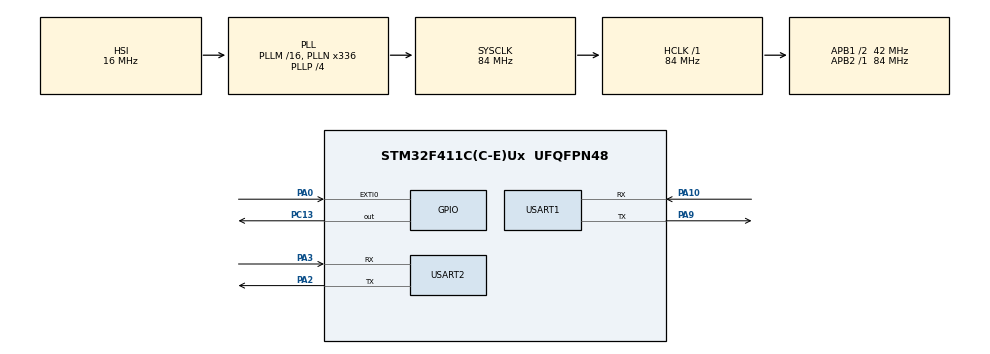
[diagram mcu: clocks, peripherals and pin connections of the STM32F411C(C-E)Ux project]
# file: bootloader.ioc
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Mcu.Family=STM32F4
Mcu.Name=STM32F411C(C-E)Ux
Mcu.Package=UFQFPN48
NVIC.EXTI0_IRQn=true\:0\:0\:false\:false\:true\:true\:true\:true
NVIC.PriorityGroup=NVIC_PRIORITYGROUP_4
PA0-WKUP.Signal=GPXTI0
PA10.Mode=Asynchronous
PA10.Signal=USART1_RX
PA2.Mode=Asynchronous
PA2.Signal=USART2_TX
PA3.Mode=Asynchronous
PA3.Signal=USART2_RX
PA9.Mode=Asynchronous
PA9.Signal=USART1_TX
PC13-ANTI_TAMP.Signal=GPIO_Output
ProjectManager.HeapSize=0x200
ProjectManager.StackSize=0x400
ProjectManager.TargetToolchain=STM32CubeIDE
RCC.48MHZClocksFreq_Value=84000000
RCC.AHBFreq_Value=84000000
RCC.APB1CLKDivider=RCC_HCLK_DIV2
RCC.APB1Freq_Value=42000000
RCC.APB1TimFreq_Value=84000000
RCC.APB2Freq_Value=84000000
RCC.APB2TimFreq_Value=84000000
RCC.CortexFreq_Value=84000000
RCC.HCLKFreq_Value=84000000
RCC.HSE_VALUE=25000000
RCC.HSI_VALUE=16000000
RCC.LSE_VALUE=32768
RCC.PLLN=336
RCC.PLLP=RCC_PLLP_DIV4
RCC.SYSCLKFreq_VALUE=84000000
RCC.SYSCLKSource=RCC_SYSCLKSOURCE_PLLCLK
RCC.VCOOutputFreq_Value=336000000
USART1.VirtualMode=VM_ASYNC
USART2.VirtualMode=VM_ASYNC
VP_CRC_VS_CRC.Mode=CRC_Activate
board=custom

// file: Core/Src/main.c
/* USER CODE BEGIN Header */
/**
  ******************************************************************************
  * @file           : main.c
  * @brief          : Main program body
  ******************************************************************************
  * @attention
  *
  * Copyright (c) 2025 STMicroelectronics.
  * All rights reserved.
  *
  * This software is licensed under terms that can be found in the LICENSE file
  * in the root directory of this software component.
  * If no LICENSE file comes with this software, it is provided AS-IS.
  *
  ******************************************************************************
  */
/* USER CODE END Header */

/* USER CODE BEGIN Includes */
#include <stdint.h>
#include <stdarg.h>
#include <string.h>
#include <stdio.h>

#include "main.h"
#include "stm32f4xx_hal.h"
/* USER CODE END Includes */

CRC_HandleTypeDef hcrc;

UART_HandleTypeDef huart1;
UART_HandleTypeDef huart2;

void SystemClock_Config(void);
static void MX_GPIO_Init(void);
static void MX_CRC_Init(void);
static void MX_USART1_UART_Init(void);
static void MX_USART2_UART_Init(void);
/* USER CODE BEGIN PFP */
#define BL_DEBUG_MSG_EN
//prints formatted srings to console over UART
void printm(char* format,...)
{
#ifdef BL_DEBUG_MSG_EN
	char str[80];
//extract the argumnet list using VA apis
	va_list args;
	va_start(args, format);
	vsprintf(str, format,args);
	HAL_UART_Transmit(&huart2, (uint8_t*)str, strlen(str), HAL_MAX_DELAY);
	va_end(args);
#endif
}
/* USER CODE END PFP */

/* USER CODE BEGIN 0 */
char data[] = "Hello from bootloader..!!!\r\n";
#define bl_rcv_len  200
uint8_t bl_rcv_buffer[bl_rcv_len];

uint8_t supported_cmd[] = {
		BL_VERSION,
		BL_HELP,
		BL_CID,
		BL_RDP_STATUS,
		BL_GO_TO_ADDR,
		BL_FLASH_ERASE,
		BL_MEM_WR,
		BL_READ_SECTOR_STATUS,
		BL_EN_RW_PROTECT,
		BL_DI_RW_PROTECT,
		BL_READ_OTP};
/* USER CODE END 0 */

int main(void)
{

  /* MCU Configuration--------------------------------------------------------*/

  /* Reset of all peripherals, Initializes the Flash interface and the Systick. */
  HAL_Init();

  /* Configure the system clock */
  SystemClock_Config();

  /* Initialize all configured peripherals */
  MX_GPIO_Init();
  MX_CRC_Init();
  MX_USART1_UART_Init();
  MX_USART2_UART_Init();

  /* Infinite loop */
  while (1)
  {
	  if(HAL_GPIO_ReadPin(GPIOA, GPIO_PIN_0) == GPIO_PIN_RESET)
	  {
		  printm("BL_Debug msg : Button is pressed..going to BL mode\r\n");
		  bootloader_uart_read_data();
	  }
	  else
	  {
		  printm("BL_Debug msg : Button is not pressed..executing user application\r\n");
		  bootloader_jump_to_userapp();
	  }
  }
}

//Code to jump to user application which is stored in FLASH_SEC2_BASE_ADDR//
void bootloader_jump_to_userapp(void)
{
	//function pointer to hold the address of the reset handler of the user app.//
	void (*app_reset_handler)(void);
	printm("BL_Debug msg : bootloader_jump_to_userappur\n");

	//(I)configure the MSP by reading the value from the base address of sector 2
	uint32_t msp_val = *(volatile uint32_t*)FLASH_SEC2_BASE_ADDR;
	printm("BL_Debug msg : %x\n", msp_val);

	__set_MSP(msp_val); //CMSIS function

	//(II) fetch the address of reset handler of the user application//
	uint32_t resethandler_addr = *(volatile uint32_t*)(FLASH_SEC2_BASE_ADDR + 4);
	app_reset_handler = (void*)resethandler_addr;
	printm("BL_Debug msg : Application reset handler address = %#x\n", app_reset_handler);

	//(III) Jump to reset handler of the user application
	app_reset_handler();
}

void bootloader_uart_read_data(void)
{
	uint8_t rx_len = 0;
	while(1)
	{
		memset(bl_rcv_buffer, 0, 200);
		HAL_UART_Receive(&huart2, bl_rcv_buffer, 1, HAL_MAX_DELAY);
		HAL_UART_Receive(&huart2, &bl_rcv_buffer[1], bl_rcv_buffer[0], HAL_MAX_DELAY);
		printm("Length byte: %d\r\n", bl_rcv_buffer[0]);
		printm("Command byte: 0x%x\r\n", bl_rcv_buffer[1]);

		switch(bl_rcv_buffer[1])
		{
			case BL_VERSION:
				bl_handler_getver_cmd(bl_rcv_buffer);
				break;

			case BL_HELP:
				bl_handle_gethelp_cmd(bl_rcv_buffer);
				break;

			case BL_CID:
				bl_handle_getcid_cmd(bl_rcv_buffer);
				break;

			case BL_RDP_STATUS:
				bl_handle_getrdp_cmd(bl_rcv_buffer);
				break;

			case BL_GO_TO_ADDR:
				bl_handle_jumptoaddr_cmd(bl_rcv_buffer);
				break;

			case BL_FLASH_ERASE:
				bl_handle_flash_erase_cmd(bl_rcv_buffer);
				break;

			case BL_MEM_WR:
				bl_handle_mem_wr_cmd(bl_rcv_buffer);
				break;

			case BL_READ_SECTOR_STATUS:
				bl_handle_read_sector_status(bl_rcv_buffer);
				break;

			case BL_EN_RW_PROTECT:
				bl_handle_en_rw_protect_cmd(bl_rcv_buffer);
				break;

			case BL_DI_RW_PROTECT:
				bl_handle_dis_rw_protect_cmd(bl_rcv_buffer);
				break;

			case BL_READ_OTP:
				bl_handle_read_OTP_cmd(bl_rcv_buffer);
				break;

			default:
				printm("Invalid command code from the host\n");
				break;
		}
	}

}
void SystemClock_Config(void)
{
  RCC_OscInitTypeDef RCC_OscInitStruct = {0};
  RCC_ClkInitTypeDef RCC_ClkInitStruct = {0};

  /** Configure the main internal regulator output voltage
  */
  __HAL_RCC_PWR_CLK_ENABLE();
  __HAL_PWR_VOLTAGESCALING_CONFIG(PWR_REGULATOR_VOLTAGE_SCALE1);

  /** Initializes the RCC Oscillators according to the specified parameters
  * in the RCC_OscInitTypeDef structure.
  */
  RCC_OscInitStruct.OscillatorType = RCC_OSCILLATORTYPE_HSI;
  RCC_OscInitStruct.HSIState = RCC_HSI_ON;
  RCC_OscInitStruct.HSICalibrationValue = RCC_HSICALIBRATION_DEFAULT;
  RCC_OscInitStruct.PLL.PLLState = RCC_PLL_ON;
  RCC_OscInitStruct.PLL.PLLSource = RCC_PLLSOURCE_HSI;
  RCC_OscInitStruct.PLL.PLLM = 16;
  RCC_OscInitStruct.PLL.PLLN = 336;
  RCC_OscInitStruct.PLL.PLLP = RCC_PLLP_DIV4;
  RCC_OscInitStruct.PLL.PLLQ = 4;
  if (HAL_RCC_OscConfig(&RCC_OscInitStruct) != HAL_OK)
  {
    Error_Handler();
  }

  /** Initializes the CPU, AHB and APB buses clocks
  */
  RCC_ClkInitStruct.ClockType = RCC_CLOCKTYPE_HCLK|RCC_CLOCKTYPE_SYSCLK
                              |RCC_CLOCKTYPE_PCLK1|RCC_CLOCKTYPE_PCLK2;
  RCC_ClkInitStruct.SYSCLKSource = RCC_SYSCLKSOURCE_PLLCLK;
  RCC_ClkInitStruct.AHBCLKDivider = RCC_SYSCLK_DIV1;
  RCC_ClkInitStruct.APB1CLKDivider = RCC_HCLK_DIV2;
  RCC_ClkInitStruct.APB2CLKDivider = RCC_HCLK_DIV1;

  if (HAL_RCC_ClockConfig(&RCC_ClkInitStruct, FLASH_LATENCY_2) != HAL_OK)
  {
    Error_Handler();
  }
}

static void MX_CRC_Init(void)
{

  hcrc.Instance = CRC;
  if (HAL_CRC_Init(&hcrc) != HAL_OK)
  {
    Error_Handler();
  }

}

static void MX_USART1_UART_Init(void)
{

  huart1.Instance = USART1;
  huart1.Init.BaudRate = 115200;
  huart1.Init.WordLength = UART_WORDLENGTH_8B;
  huart1.Init.StopBits = UART_STOPBITS_1;
  huart1.Init.Parity = UART_PARITY_NONE;
  huart1.Init.Mode = UART_MODE_TX_RX;
  huart1.Init.HwFlowCtl = UART_HWCONTROL_NONE;
  huart1.Init.OverSampling = UART_OVERSAMPLING_16;
  if (HAL_UART_Init(&huart1) != HAL_OK)
  {
    Error_Handler();
  }

}

static void MX_USART2_UART_Init(void)
{

  huart2.Instance = USART2;
  huart2.Init.BaudRate = 115200;
  huart2.Init.WordLength = UART_WORDLENGTH_8B;
  huart2.Init.StopBits = UART_STOPBITS_1;
  huart2.Init.Parity = UART_PARITY_NONE;
  huart2.Init.Mode = UART_MODE_TX_RX;
  huart2.Init.HwFlowCtl = UART_HWCONTROL_NONE;
  huart2.Init.OverSampling = UART_OVERSAMPLING_16;
  if (HAL_UART_Init(&huart2) != HAL_OK)
  {
    Error_Handler();
  }

}

static void MX_GPIO_Init(void)
{
  GPIO_InitTypeDef GPIO_InitStruct = {0};

  /* GPIO Ports Clock Enable */
  __HAL_RCC_GPIOC_CLK_ENABLE();
  __HAL_RCC_GPIOA_CLK_ENABLE();

  /*Configure GPIO pin Output Level */
  HAL_GPIO_WritePin(GPIOC, GPIO_PIN_13, GPIO_PIN_RESET);

  /*Configure GPIO pin : PC13 */
  GPIO_InitStruct.Pin = GPIO_PIN_13;
  GPIO_InitStruct.Mode = GPIO_MODE_OUTPUT_PP;
  GPIO_InitStruct.Pull = GPIO_NOPULL;
  GPIO_InitStruct.Speed = GPIO_SPEED_FREQ_LOW;
  HAL_GPIO_Init(GPIOC, &GPIO_InitStruct);

  /*Configure GPIO pin : PA0 */
  GPIO_InitStruct.Pin = GPIO_PIN_0;
  GPIO_InitStruct.Mode = GPIO_MODE_IT_RISING;
  GPIO_InitStruct.Pull = GPIO_PULLUP;
  HAL_GPIO_Init(GPIOA, &GPIO_InitStruct);

  /* EXTI interrupt init*/
  HAL_NVIC_SetPriority(EXTI0_IRQn, 0, 0);
  HAL_NVIC_EnableIRQ(EXTI0_IRQn);

}

/* USER CODE BEGIN 4 */
//////Implementation of command handle functions//////

//1. To handle to get version command of the bootloader//
void bl_handler_getver_cmd(uint8_t *bl_rcv_buffer)
{
	uint8_t bl_ver;

	//1. check the CRC
	printm("Bootloader command : bl_handler_getver_cmd\n");
	//total length of cmad packet
	uint32_t cmd_packet_len = bl_rcv_buffer[0] + 1;

	//extract CRC32 sent by the host
	uint32_t crc_host = *( (uint32_t*)(bl_rcv_buffer + cmd_packet_len - 4) );

	if(! bootloader_verify_CRC(&bl_rcv_buffer[0], cmd_packet_len - 4, crc_host) )
	{
		printm("Checksum success!!\n");
		bootloader_send_ACK(bl_rcv_buffer[0], 1);
		bl_ver = get_bl_version();
		printm("BL_VER : %d %#x\n", bl_ver, bl_ver);
		bootloader_uart_write_data((uint8_t*)&bl_ver, 1);
	}
	else
	{
		printm("Checksum failed!!\n");
		bootloader_send_NACK();
	}

}

//2. Bootloader sends all the supported command codes//
void bl_handle_gethelp_cmd(uint8_t *pbuffer)
{
	printm("Bootloader command : bl_handle_gethelp_cmd\n");

	//total length of command packet
	uint32_t cmd_packet_len = bl_rcv_buffer[0] + 1;

	//extract CRC32 sent by the host
	uint32_t crc_host = *( (uint32_t*)(bl_rcv_buffer + cmd_packet_len - 4) );

	if(!bootloader_verify_CRC(&bl_rcv_buffer[0], cmd_packet_len-4, crc_host))
	{
		printm("Checksum success!!\n");
		bootloader_send_ACK(bl_rcv_buffer[0], sizeof(supported_cmd));
		bootloader_uart_write_data(supported_cmd, sizeof(supported_cmd));
	}
	else
	{
		printm("Checksum failed..!!\n");
		bootloader_send_NACK();
	}
}

//3. To get the chip identification no. of the MCU//
void bl_handle_getcid_cmd(uint8_t *pbuffer)
{
	uint16_t bl_cid_num = 0;
	printm("Bootloader command : bl_handle_getcid_cmd\n");

	//total length of command packet
	uint32_t cmd_packet_len = bl_rcv_buffer[0] + 1;

	//extract the CRC32 sent by the host//
	uint32_t crc_host = *( (uint32_t*)(&bl_rcv_buffer[0] + cmd_packet_len - 4) );

	if(!bootloader_verify_CRC(&bl_rcv_buffer[0], cmd_packet_len-4, crc_host))
	{
		printm("Checksum success!!\n");
		bootloader_send_ACK(pbuffer[0], 2);
		bl_cid_num = get_cid_num();
		printm("MCU ID : %d %#x\n", bl_cid_num, bl_cid_num);
		bootloader_uart_write_data((uint8_t*)&bl_cid_num, 2);
	}
	else
	{
		printm("Checksum failed..!!\n");
		bootloader_send_NACK();
	}
}

//4. To handle the RDP level and read it//
void bl_handle_getrdp_cmd(uint8_t *pbuffer)
{
	uint8_t rdp_level = 0x00;
	printm("Bootloader command : bl_handle_getrdp_cmd\n");

	//Total length of command packet
	uint32_t cmd_packet_len = bl_rcv_buffer[0] + 1;

	//extract the CRC32 sent by the host
	uint32_t crc_host = *( (uint32_t*)(&bl_rcv_buffer[0] + cmd_packet_len - 4) );

	if(!bootloader_verify_CRC(&bl_rcv_buffer[0], cmd_packet_len-4, crc_host))
	{
		printm("Checksum success!!\n");
		bootloader_send_ACK(pbuffer[0], 2);
		rdp_level = get_flash_RDP_level();
		printm("MCU ID : %d %#x\n", rdp_level, rdp_level);
		bootloader_uart_write_data(&rdp_level, 1);
	}
	else
	{
		printm("Checksum failed..!!\n");
		bootloader_send_NACK();
	}
}

//5. This function jumps to the given address//
void bl_handle_jumptoaddr_cmd(uint8_t* pbuffer)
{
	uint32_t addr        = 0;
	uint8_t valid_addr   = ADDR_VALID;
	uint8_t invalid_addr = ADDR_INVALID;

	printm("Bootloader command : bl_handle_jumptoaddr_cmd\n");

	//Total length of command packet
	uint32_t cmd_packet_len = bl_rcv_buffer[0] + 1;

	//extract the CRC32 sent by the host
	uint32_t crc_host = *( (uint32_t*)(&bl_rcv_buffer[0] + cmd_packet_len - 4) );

	if(!bootloader_verify_CRC(&bl_rcv_buffer[0], cmd_packet_len - 4, crc_host))
	{
		printm("Checksum success!!");
		bootloader_send_ACK(pbuffer[0], 1);

		//extract the address to jump
		addr = *((uint32_t*)&pbuffer[2]);
		printm("Jump to address : %#x\n", addr);

		if(verify_addr(addr) == ADDR_VALID)
		{
			bootloader_uart_write_data(&valid_addr, 1);

			addr += 1;  //making the T bit as 1, otherwise it will result in hardfault exception

			void (*jump_to_addr)(void) = (void*)addr;

			printm("Jumping to the given address...\n");
			jump_to_addr();
		}

		else
		{
			printm("Given address is invalid!\n");
			bootloader_uart_write_data(&invalid_addr, 1);
		}
	}

	else
	{
		printm("Checksum failed!!\n");
		bootloader_send_NACK();
	}
}

//6. This command is used to mass erase the flash sectors//
void bl_handle_flash_erase_cmd(uint8_t* pbuffer)
{
	uint8_t erase_status = 0x00;
	printm("Bootloader command : bl_handle_flash_erase_cmd\n");

	//Total length of command packet
	uint32_t cmd_packet_len = bl_rcv_buffer[0] + 1;

	//extract the CRC32 sent by the host
	uint32_t crc_host = *( (uint32_t*)(&bl_rcv_buffer[0] + cmd_packet_len - 4) );

	if(!bootloader_verify_CRC(&bl_rcv_buffer[0], cmd_packet_len - 4, crc_host))
	{
		printm("Checksum success!!");
		bootloader_send_ACK(pbuffer[0], 1);
		printm("Initial sector : %d Number of sectors : %d\n", pbuffer[2], pbuffer[3]);

		HAL_GPIO_WritePin(GPIOC, GPIO_PIN_13, 0);
		erase_status = execute_flash_erase(pbuffer[2], pbuffer[3]);
		HAL_GPIO_WritePin(GPIOC, GPIO_PIN_13, 1);

		printm("Flash erase status : %#x\n", erase_status);
		bootloader_uart_write_data(&erase_status, 1);
	}
	else
	{
		printm("Checksum failed!!\n");
		bootloader_send_NACK();
	}

}

//7. This command handles to write in the flash region of the mcu//
void bl_handle_mem_wr_cmd(uint8_t *pbuffer)
{
	uint8_t val_addr = ADDR_VALID, status_wr = 0x00, len = pbuffer[0], checksum = 0;
	uint8_t payload_len = pbuffer[6];
	uint32_t mem_addr = *( (uint32_t*) (&pbuffer[2]) );
	checksum = pbuffer[len];
	printm("Bootloader command : bl_handle_mem_wr_cmd\n");

	//total length
	uint32_t cmd_packet_len = bl_rcv_buffer[0] + 1;

	//extract the CRC32 sent by the host
	uint32_t crc_host = *( (uint32_t*)(&bl_rcv_buffer[0] + cmd_packet_len - 4) );

	if(!bootloader_verify_CRC(&bl_rcv_buffer[0], cmd_packet_len - 4, crc_host))
	{
		printm("Checksum success!!");
		bootloader_send_ACK(pbuffer[0], 1);
		printm("Memory write address : %#x\n", mem_addr);

		if(verify_addr(mem_addr) == ADDR_VALID)
		{
			printm("Write address is valid\n");
			HAL_GPIO_WritePin(GPIOC, GPIO_PIN_13, 0);
			status_wr = execute_mem_wr(&pbuffer[7], mem_addr, payload_len);
			HAL_GPIO_WritePin(GPIOC, GPIO_PIN_13, 1);

			bootloader_uart_write_data(&status_wr, 1);
		}
		else
		{
			printm("Write address is invalid\n");
			status_wr = ADDR_INVALID;
			bootloader_uart_write_data(&status_wr, 1);
		}
	}

	else
	{
		printm("Checksum failed!!\n");
		bootloader_send_NACK();
	}

}

//8. This command enables the read/write protection
void bl_handle_en_rw_protect_cmd(uint8_t *pbuffer)
{
	uint8_t status = 0x00;
	printm("Bootloader command : bl_handle_en_rw_protect_cmd\n");

	//total length
	uint32_t cmd_packet_len = bl_rcv_buffer[0] + 1;

	//extract the CRC32 sent by the host
	uint32_t crc_host = *( (uint32_t*)(&bl_rcv_buffer[0] + cmd_packet_len - 4) );

	if(!bootloader_verify_CRC(&bl_rcv_buffer[0], cmd_packet_len-4, crc_host))
	{
		printm("Checksum success..!!\n");
		bootloader_send_ACK(pbuffer[0], 1);

		status = config_flash_rw_protect(pbuffer[2], pbuffer[3], 0);

		printm("Flash erase status : %#x\n", status);
		bootloader_uart_write_data(&status, 1);
	}
	else
	{
		printm("Checksum failed!!\n");
		bootloader_send_NACK();
	}
}

//9. This command disables the read/write protection
void bl_handle_dis_rw_protect_cmd(uint8_t *pbuffer)
{
	uint8_t status = 0x00;
	printm("Bootloader command : bl_handle_dis_rw_protect_cmd\n");

	//Total length
	uint32_t cmd_packet_len = pbuffer[0] + 1;

	//Extract the CRC32 sent by the host
	uint32_t crc_host = *((uint32_t*) (bl_rcv_buffer + cmd_packet_len - 4));

	if(!bootloader_verify_CRC(&bl_rcv_buffer[0], cmd_packet_len-4, crc_host))
	{
		printm("Checksum success..!!\n");
		bootloader_send_ACK(pbuffer[0], 1);

		status = config_flash_rw_protect(0, 0, 1);

		printm("Flash erase status : %#x", status);
		bootloader_uart_write_data(&status, 1);
	}
	else
	{
		printm("Checksum failed!!\n");
		bootloader_send_NACK();
	}
}

//10. This command reads the status of all sectors
void bl_handle_read_sector_status(uint8_t *pbuffer)
{
	uint8_t status = 0x00;
	printm("Bootloader command : bl_handle_read_sector_status\n");

	//Total length
	uint32_t cmd_packet_len = bl_rcv_buffer[0] + 1;

	//Extract the CRC32 sent by the host
	uint32_t crc_host = *( (uint32_t*) (bl_rcv_buffer + cmd_packet_len - 4) );

	if(!bootloader_verify_CRC(&bl_rcv_buffer[0], cmd_packet_len-4, crc_host))
	{
		printm("Checksum success..!!\n");
		bootloader_send_ACK(pbuffer[0], 2);
		status = read_OB_rw_protect_status();
		printm("nWRP Status : %#x\n", status);
		bootloader_uart_write_data((uint8_t*)&status, 2);
	}
	else
	{
		printm("Checksum failed!!\n");
		bootloader_send_NACK();
	}
}

//11. This command handles to read the OTP data blocks
void bl_handle_read_OTP_cmd(uint8_t *pbuffer)
{
	uint8_t status = 0x00;
	printm("Bootloader command : bl_handle_read_OTP_cmd\n");

	//Total length
	uint32_t cmd_packet_len = pbuffer[0] + 1;

	//Extract the CRC32 sent by the host
	uint32_t crc_host = *( (uint32_t*) (bl_rcv_buffer + cmd_packet_len - 4) );

	if(!bootloader_verify_CRC(&bl_rcv_buffer[0], cmd_packet_len-4, crc_host))
	{
		printm("Checksum success..!!\n");
		bootloader_send_ACK(pbuffer[0], 1);
		status = read_otp_block(pbuffer[2]);
		printm("OTP block data: %d", status);
		bootloader_uart_write_data(&status, 1);
	}
	else
	{
		printm("Checksum failed!!\n");
		bootloader_send_NACK();
	}
}
//This function sends ACK if CRC matches with the length//
void bootloader_send_ACK(uint8_t cmd_code, uint8_t follow_len)
{
	//We send 2 bytes here : (I) ACK (II) length to follow
	uint8_t ack_buffer[2];
	ack_buffer[0] = BL_ACK;
	ack_buffer[1] = follow_len;
	HAL_UART_Transmit(&huart2, ack_buffer, 2, HAL_MAX_DELAY);
	printm("ACK Done\n");
}

//This function sends NACK if CRC doesn't match with the length//
void bootloader_send_NACK(void)
{
	uint8_t nack = BL_NACK;
	HAL_UART_Transmit(&huart2, &nack, 1, HAL_MAX_DELAY);
}

//This function writes data in UART2//
void bootloader_uart_write_data(uint8_t *pbuffer, uint32_t len)
{
	HAL_UART_Transmit(&huart2, pbuffer, len, HAL_MAX_DELAY);
}
//This function verify the CRC of the given buffer in pData
//pData : pointer to the data
//len : length for which CRC is to be calculated
//crc_host : 32 bit CRC value received by the host that is to be compared
uint8_t bootloader_verify_CRC(uint8_t *pData, uint32_t len, uint32_t crc_host)
{
	uint32_t crc_val = 0xff;

	for(uint32_t i = 0; i < len; i++)
	{
		uint32_t idata = pData[i];
		crc_val = HAL_CRC_Accumulate(&hcrc, &idata, 1);

	}

	//Reset CRC calculation unit
	__HAL_CRC_DR_RESET(&hcrc);
	if(crc_val == crc_host)
	{
		return CRC_SUCCESS;
	}
	else return CRC_FAILURE;

}

//This function returns the bl_version macro//
uint8_t get_bl_version(void)
{
	return BL_VERSION;
}

//This function reads the chip identifier number//
uint16_t get_cid_num(void)
{
	uint16_t id;
	id = (uint16_t)(DBGMCU->IDCODE) & 0x0FFF;
	return id;
}

//This function gets the RDP level from the flash memory//
uint8_t get_flash_RDP_level(void)
{
	uint8_t rdp_status = 0;

#if 0
	FLASH_OBProgramInitTypeDef ob_handle;
	HAL_FLASHEx_OBGetConfig(&ob_handle);
	rdp_status = (uint8_t) ob_handle.RDPLevel;
#else
	volatile uint32_t *pOptionBytes = (uint32_t*) 0x1FFFC000;
	rdp_status = (uint8_t) (*pOptionBytes >> 8);  //we only want bits from 8 to 15
#endif
	return rdp_status;
}

//This function verifies the given address is valid or not
uint8_t verify_addr(uint32_t go_addr)
{
	if(go_addr >= SRAM_BASE && go_addr <= SRAM_END) return ADDR_VALID;
	else if(go_addr >= FLASH_BASE && go_addr <= FLASH_END) return ADDR_VALID;
	else if(go_addr >= BKPSRAM_BB_BASE && go_addr <= BKPSRAM_END) return ADDR_VALID;
	else return ADDR_INVALID;
}

void jump_to_addr(uint32_t go_addr)
{
	//function pointer to hold the address of the reset handler of the go_addr//
	void (*app_reset_handler)(void);
	uint32_t msp_val = *(volatile uint32_t*)go_addr;

	__set_MSP(msp_val);

	uint32_t resethandler_addr = *(volatile uint32_t*)(go_addr + 4);
	app_reset_handler = (void*)resethandler_addr;

	app_reset_handler();

}

uint8_t execute_flash_erase(uint8_t sector_num, uint8_t units)
{
	FLASH_EraseInitTypeDef flasherase_handle;
	uint32_t error;
	HAL_StatusTypeDef status;

	if(sector_num > 8) return SECTOR_INVALID;
	if(sector_num < 8 || sector_num == 0xff)
	{
		if(sector_num == (uint8_t) 0xff) flasherase_handle.TypeErase = FLASH_TYPEERASE_MASSERASE;

		else
		{
			if(units > 8 - sector_num) units = sector_num;

			flasherase_handle.TypeErase = FLASH_TYPEERASE_SECTORS;
			flasherase_handle.Sector    = sector_num;
			flasherase_handle.NbSectors = units;
		}
		flasherase_handle.Banks = FLASH_BANK_1;

		//Access to the flash registers//
		HAL_FLASH_Unlock();
		flasherase_handle.VoltageRange = FLASH_VOLTAGE_RANGE_3;
		status = (uint8_t)HAL_FLASHEx_Erase(&flasherase_handle, &error);
		HAL_FLASH_Lock();

		return status;
	}
	return SECTOR_INVALID;
}

//This function writes from the given base address into the flash region byte by byte//
uint8_t execute_mem_wr(uint8_t *pbuffer, uint32_t mem_addr, uint32_t len)
{
	uint8_t status = HAL_OK;
	HAL_FLASH_Unlock();

	for(uint32_t i = 0; i < len; i++)
	{
		status = HAL_FLASH_Program(FLASH_TYPEPROGRAM_BYTE, mem_addr + i, pbuffer[i]);
	}

	HAL_FLASH_Lock();
	return status;
}

//This function configures the read/write protection in the flash sectors
//Modifying user option bytes
//To modify the user option value, follow the sequence below:
//1.Check that no Flash memory operation is ongoing by checking the BSY bit in the
//FLASH_SR register
//2.Write the desired option value in the FLASH_OPTCR register.
//3.Set the option start bit (OPTSTRT) in the FLASH_OPTCR register
//4.Wait for the BSY bit to be cleared.
//@param sector details : to configure which sector
//@param protection_mode : 1 = write protect
//                         2 : read and write protect
//@param DI : disable
uint8_t config_flash_rw_protect(uint8_t sector_details, uint8_t protection_mode, uint8_t DI)
{
//	modify the address 0x1FFF C008 bit 15(SPRMOD)
	volatile uint32_t *pOTPCR = &FLASH->OPTCR;

	if(DI)
	{
		// disable all the r/w protection on sectors
		HAL_FLASH_OB_Unlock();

		//clear the bit 31 (default state)
		*pOTPCR &= ~(1 << 31);

		//clear the protection by making all the bits of sector as 1
		*pOTPCR |= (0xFF << 16);

       //setting operation start bit
		*pOTPCR |= (1 << 1);

		//wait till there is no active operation on flash
		while(__HAL_FLASH_GET_FLAG(FLASH_FLAG_BSY) != RESET );

		HAL_FLASH_OB_Lock();

		return 0;
	}

	else if(protection_mode == (uint8_t) 1)
	{
		//write protection to sectors mentioned in sector details//

		//Unlock configuration for option bytes
		HAL_FLASH_OB_Unlock();

		//wait till there is no active operation on flash
		while(__HAL_FLASH_GET_FLAG(FLASH_FLAG_BSY) != RESET );

//      For bit 31 of the register
//		nWRPi [7:0] = from bit 16 to 23
//		SPRMOD: Selection of Protection Mode of nWPRi bits
//		0: nWPRi bits used for sector i write protection (Default)
//		1: nWPRi bits used for sector i PCROP protection (Sector)

		*pOTPCR &= ~(1 << 31);
		*pOTPCR &= ~(sector_details << 16);

//		setting operation start bit
		*pOTPCR |= (1 << 1);

		//wait till there is no active operation on flash
		while(__HAL_FLASH_GET_FLAG(FLASH_FLAG_BSY) != RESET );

		HAL_FLASH_OB_Lock();
	}

	else if(protection_mode == (uint8_t) 2)
	{
		//read and write protection to the sectors mentioned
		//Unlock configuration for option bytes
		HAL_FLASH_OB_Unlock();

		//wait till there is no active operation on flash
		while(__HAL_FLASH_GET_FLAG(FLASH_FLAG_BSY) != RESET );

		//set the bit 31 in the FLASH_OPTCR
		*pOTPCR |= (1 << 31);

		//rw protect on sectors mentioned
		*pOTPCR &= ~(0xff < 16);
		*pOTPCR |= (sector_details << 16);

       //setting operation start bit
		*pOTPCR |= (1 << 1);

		//wait till there is no active operation on flash
		while(__HAL_FLASH_GET_FLAG(FLASH_FLAG_BSY) != RESET );

		HAL_FLASH_OB_Lock();

	}

	return 0;

}

uint16_t read_OB_rw_protect_status(void)
{
	FLASH_OBProgramInitTypeDef ob_init;
	HAL_FLASH_OB_Unlock();
	HAL_FLASHEx_OBGetConfig(&ob_init);
	HAL_FLASH_OB_Lock();
	return (uint16_t)ob_init.WRPSector;
}

uint8_t read_otp_block(uint16_t block_num)
{
	uint32_t otp_data[32] = {0};
	if(block_num < 0 || block_num > 15)
	{
		printm("Invalid OTP block number!\n");
		return 0;
	}
	uint32_t block_offset = block_num * 32;
	uint32_t block_addr = FLASH_OTP_BASE + block_offset;

	for(uint8_t i = 0; i <= 31; i++)
	{
		otp_data[i] = *( (uint8_t*)(block_addr + i) );
	}

	printm("OTP block %d Data :\n", block_num);
	for(uint8_t i = 0; i <= 31; i++)
	{
		printm("%02X ", otp_data[i]);
	}
	printm("\n");

	return otp_data[0];
}
/* USER CODE END 4 */

void Error_Handler(void)
{
  __disable_irq();
  while (1)
  {
  }
}
